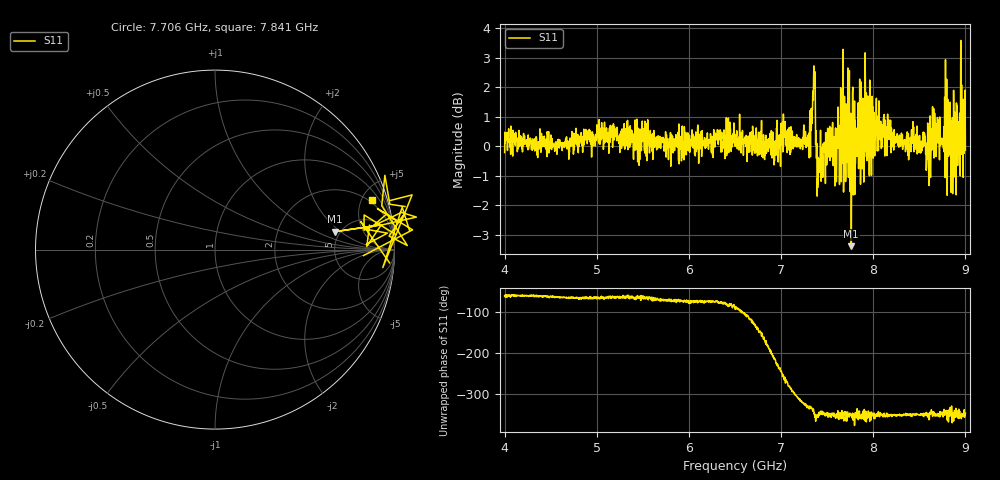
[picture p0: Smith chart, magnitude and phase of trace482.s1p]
! Created with skrf 1.8.0 (http://scikit-rf.org).
# Hz S RI R 50.0
!freq ReS11 ImS11
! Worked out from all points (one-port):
!   1601 points, 4 GHz to 9 GHz, reference 50 ohm
!   lowest |S11| = -3.4 dB at 7.762 GHz (marker M1), VSWR 5.18, Z = 227 + j83.7 ohm
!   |S11| at or under -10 dB: nowhere
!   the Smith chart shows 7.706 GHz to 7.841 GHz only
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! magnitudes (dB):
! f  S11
! 4 GHz  -0.2
! 4.625 GHz  -0.2
! 5.25 GHz  -0.2
! 5.875 GHz  0.1
! 6.5 GHz  0.1
! 7.125 GHz  0.1
! 7.294 GHz  0.0
! 7.347 GHz  1.8
! 7.409 GHz  -0.8
! 7.669 GHz  0.5
! 7.678 GHz  -1.6
! 7.731 GHz  -1.1
! 7.75 GHz  -1.5
! 7.762 GHz  -3.4
! 7.769 GHz  -1.5
! 7.856 GHz  0.4
! 7.928 GHz  0.7
! 7.981 GHz  -1.0
! 8.056 GHz  -0.2
! 8.375 GHz  0.0
! 8.547 GHz  0.5
! 8.6 GHz  -0.5
! 8.656 GHz  1.3
! 8.744 GHz  0.2
! 8.809 GHz  1.6
! 8.862 GHz  -1.6
! 8.972 GHz  0.2
! 9 GHz  -0.1
